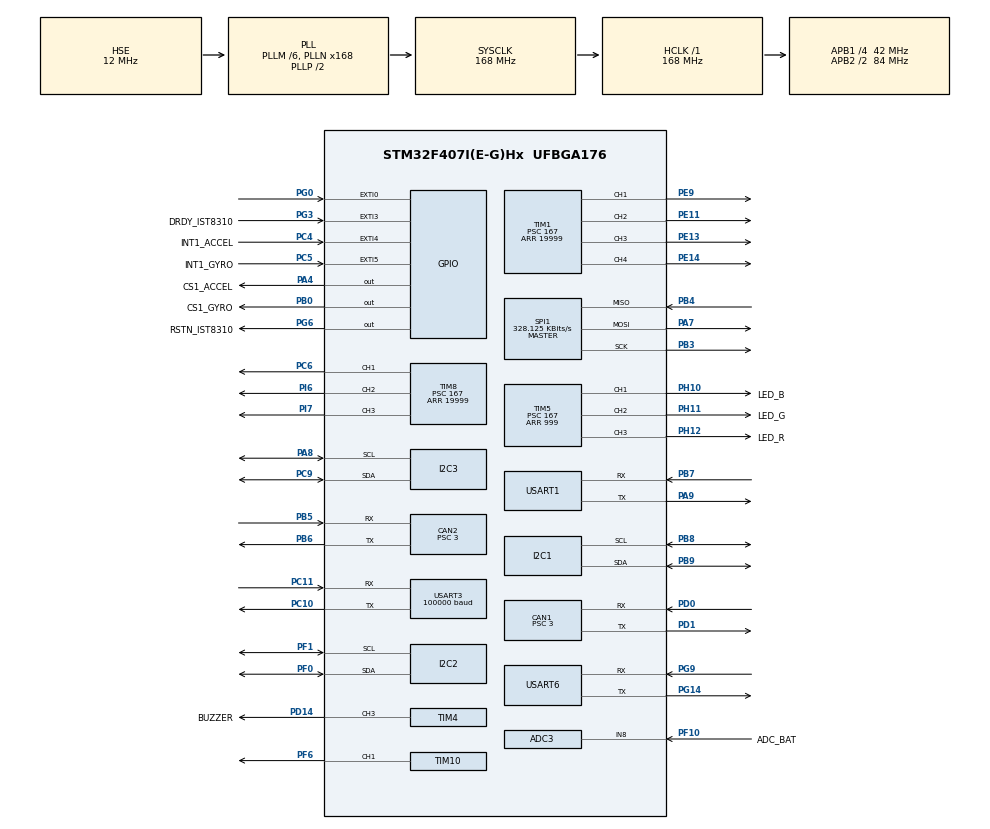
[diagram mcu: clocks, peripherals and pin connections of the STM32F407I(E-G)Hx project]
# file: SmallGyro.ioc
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ADC1.Channel-0\#ChannelRegularConversion=ADC_CHANNEL_TEMPSENSOR
ADC1.ClockPrescaler=ADC_CLOCK_SYNC_PCLK_DIV6
ADC1.NbrOfConversionFlag=1
ADC1.Rank-0\#ChannelRegularConversion=1
ADC1.SamplingTime-0\#ChannelRegularConversion=ADC_SAMPLETIME_3CYCLES
ADC1.master=1
ADC3.Channel-0\#ChannelRegularConversion=ADC_CHANNEL_8
ADC3.ClockPrescaler=ADC_CLOCK_SYNC_PCLK_DIV6
ADC3.NbrOfConversionFlag=1
ADC3.Rank-0\#ChannelRegularConversion=1
ADC3.SamplingTime-0\#ChannelRegularConversion=ADC_SAMPLETIME_3CYCLES
CAN1.BS1=CAN_BS1_10TQ
CAN1.BS2=CAN_BS2_3TQ
CAN1.CalculateTimeQuantum=71.42857142857143
CAN1.Prescaler=3
CAN2.BS1=CAN_BS1_10TQ
CAN2.BS2=CAN_BS2_3TQ
CAN2.CalculateTimeQuantum=71.42857142857143
CAN2.Prescaler=3
Dma.I2C2_TX.5.Direction=DMA_MEMORY_TO_PERIPH
Dma.I2C2_TX.5.FIFOMode=DMA_FIFOMODE_DISABLE
Dma.I2C2_TX.5.Instance=DMA1_Stream7
Dma.I2C2_TX.5.MemDataAlignment=DMA_MDATAALIGN_BYTE
Dma.I2C2_TX.5.MemInc=DMA_MINC_ENABLE
Dma.I2C2_TX.5.Mode=DMA_NORMAL
Dma.I2C2_TX.5.PeriphDataAlignment=DMA_PDATAALIGN_BYTE
Dma.I2C2_TX.5.PeriphInc=DMA_PINC_DISABLE
Dma.I2C2_TX.5.Priority=DMA_PRIORITY_HIGH
Dma.Request0=USART3_RX
Dma.Request1=SPI1_TX
Dma.Request2=USART1_TX
Dma.Request3=USART6_RX
Dma.Request4=USART6_TX
Dma.Request5=I2C2_TX
Dma.Request6=SPI1_RX
Dma.SPI1_RX.6.Direction=DMA_PERIPH_TO_MEMORY
Dma.SPI1_RX.6.FIFOMode=DMA_FIFOMODE_DISABLE
Dma.SPI1_RX.6.Instance=DMA2_Stream2
Dma.SPI1_RX.6.MemDataAlignment=DMA_MDATAALIGN_BYTE
Dma.SPI1_RX.6.MemInc=DMA_MINC_ENABLE
Dma.SPI1_RX.6.Mode=DMA_NORMAL
Dma.SPI1_RX.6.PeriphDataAlignment=DMA_PDATAALIGN_BYTE
Dma.SPI1_RX.6.PeriphInc=DMA_PINC_DISABLE
Dma.SPI1_RX.6.Priority=DMA_PRIORITY_VERY_HIGH
Dma.SPI1_TX.1.Direction=DMA_MEMORY_TO_PERIPH
Dma.SPI1_TX.1.FIFOMode=DMA_FIFOMODE_DISABLE
Dma.SPI1_TX.1.Instance=DMA2_Stream3
Dma.SPI1_TX.1.MemDataAlignment=DMA_MDATAALIGN_BYTE
Dma.SPI1_TX.1.MemInc=DMA_MINC_ENABLE
Dma.SPI1_TX.1.Mode=DMA_NORMAL
Dma.SPI1_TX.1.PeriphDataAlignment=DMA_PDATAALIGN_BYTE
Dma.SPI1_TX.1.PeriphInc=DMA_PINC_DISABLE
Dma.SPI1_TX.1.Priority=DMA_PRIORITY_HIGH
Dma.USART1_TX.2.Direction=DMA_MEMORY_TO_PERIPH
Dma.USART1_TX.2.FIFOMode=DMA_FIFOMODE_DISABLE
Dma.USART1_TX.2.Instance=DMA2_Stream7
Dma.USART1_TX.2.MemDataAlignment=DMA_MDATAALIGN_BYTE
Dma.USART1_TX.2.MemInc=DMA_MINC_ENABLE
Dma.USART1_TX.2.Mode=DMA_NORMAL
Dma.USART1_TX.2.PeriphDataAlignment=DMA_PDATAALIGN_BYTE
Dma.USART1_TX.2.PeriphInc=DMA_PINC_DISABLE
Dma.USART1_TX.2.Priority=DMA_PRIORITY_MEDIUM
Dma.USART3_RX.0.Direction=DMA_PERIPH_TO_MEMORY
Dma.USART3_RX.0.FIFOMode=DMA_FIFOMODE_DISABLE
Dma.USART3_RX.0.Instance=DMA1_Stream1
Dma.USART3_RX.0.MemDataAlignment=DMA_MDATAALIGN_BYTE
Dma.USART3_RX.0.MemInc=DMA_MINC_ENABLE
Dma.USART3_RX.0.Mode=DMA_NORMAL
Dma.USART3_RX.0.PeriphDataAlignment=DMA_PDATAALIGN_BYTE
Dma.USART3_RX.0.PeriphInc=DMA_PINC_DISABLE
Dma.USART3_RX.0.Priority=DMA_PRIORITY_HIGH
Dma.USART6_RX.3.Direction=DMA_PERIPH_TO_MEMORY
Dma.USART6_RX.3.FIFOMode=DMA_FIFOMODE_DISABLE
Dma.USART6_RX.3.Instance=DMA2_Stream1
Dma.USART6_RX.3.MemDataAlignment=DMA_MDATAALIGN_BYTE
Dma.USART6_RX.3.MemInc=DMA_MINC_ENABLE
Dma.USART6_RX.3.Mode=DMA_NORMAL
Dma.USART6_RX.3.PeriphDataAlignment=DMA_PDATAALIGN_BYTE
Dma.USART6_RX.3.PeriphInc=DMA_PINC_DISABLE
Dma.USART6_RX.3.Priority=DMA_PRIORITY_HIGH
Dma.USART6_TX.4.Direction=DMA_MEMORY_TO_PERIPH
Dma.USART6_TX.4.FIFOMode=DMA_FIFOMODE_DISABLE
Dma.USART6_TX.4.Instance=DMA2_Stream6
Dma.USART6_TX.4.MemDataAlignment=DMA_MDATAALIGN_BYTE
Dma.USART6_TX.4.MemInc=DMA_MINC_ENABLE
Dma.USART6_TX.4.Mode=DMA_NORMAL
Dma.USART6_TX.4.PeriphDataAlignment=DMA_PDATAALIGN_BYTE
Dma.USART6_TX.4.PeriphInc=DMA_PINC_DISABLE
Dma.USART6_TX.4.Priority=DMA_PRIORITY_MEDIUM
FREERTOS.INCLUDE_eTaskGetState=1
FREERTOS.INCLUDE_pcTaskGetTaskName=1
FREERTOS.INCLUDE_uxTaskGetStackHighWaterMark=1
FREERTOS.INCLUDE_vTaskCleanUpResources=1
FREERTOS.INCLUDE_vTaskDelayUntil=1
FREERTOS.INCLUDE_xQueueGetMutexHolder=1
FREERTOS.INCLUDE_xSemaphoreGetMutexHolder=1
FREERTOS.INCLUDE_xTaskAbortDelay=1
FREERTOS.INCLUDE_xTaskGetCurrentTaskHandle=1
FREERTOS.INCLUDE_xTaskGetHandle=1
FREERTOS.Tasks01=defaultTask,0,128,StartDefaultTask,Default,NULL,Dynamic,NULL,NULL
FREERTOS.configTOTAL_HEAP_SIZE=24576
I2C1.I2C_Mode=I2C_Fast
I2C2.I2C_Mode=I2C_Fast
I2C3.I2C_Mode=I2C_Fast
Mcu.Family=STM32F4
Mcu.Name=STM32F407I(E-G)Hx
Mcu.Package=UFBGA176
NVIC.CAN1_RX0_IRQn=true\:5\:0\:false\:false\:true\:true\:true\:true
NVIC.CAN2_RX0_IRQn=true\:5\:0\:false\:false\:true\:true\:true\:true
NVIC.DMA1_Stream1_IRQn=true\:5\:0\:false\:false\:false\:true\:false\:false
NVIC.DMA1_Stream7_IRQn=true\:5\:0\:false\:false\:false\:true\:false\:false
NVIC.DMA2_Stream1_IRQn=true\:5\:0\:false\:false\:true\:true\:false\:true
NVIC.DMA2_Stream2_IRQn=true\:5\:0\:true\:false\:false\:false\:false\:false
NVIC.DMA2_Stream3_IRQn=true\:5\:0\:false\:false\:false\:true\:false\:false
NVIC.DMA2_Stream6_IRQn=true\:5\:0\:false\:false\:true\:true\:false\:true
NVIC.DMA2_Stream7_IRQn=true\:5\:0\:false\:false\:true\:true\:false\:true
NVIC.EXTI0_IRQn=true\:6\:0\:true\:false\:true\:true\:true\:true
NVIC.EXTI3_IRQn=true\:5\:0\:false\:false\:true\:true\:true\:true
NVIC.EXTI4_IRQn=true\:5\:0\:true\:false\:true\:false\:true\:true
NVIC.EXTI9_5_IRQn=true\:5\:0\:true\:false\:true\:false\:true\:true
NVIC.PriorityGroup=NVIC_PRIORITYGROUP_4
NVIC.USART3_IRQn=true\:5\:0\:false\:false\:false\:true\:true\:false
NVIC.USART6_IRQn=true\:5\:0\:false\:false\:false\:true\:true\:false
PA13.Mode=Serial_Wire
PA13.Signal=SYS_JTMS-SWDIO
PA14.Mode=Serial_Wire
PA14.Signal=SYS_JTCK-SWCLK
PA4.GPIO_Label=CS1_ACCEL
PA4.GPIO_PuPd=GPIO_PULLUP
PA4.GPIO_Speed=GPIO_SPEED_FREQ_HIGH
PA4.PinState=GPIO_PIN_SET
PA4.Signal=GPIO_Output
PA7.GPIO_PuPd=GPIO_PULLUP
PA7.Mode=Full_Duplex_Master
PA7.Signal=SPI1_MOSI
PA8.Mode=I2C
PA8.Signal=I2C3_SCL
PA9.GPIO_PuPd=GPIO_PULLUP
PA9.Mode=Asynchronous
PA9.Signal=USART1_TX
PB0.GPIO_Label=CS1_GYRO
PB0.GPIO_PuPd=GPIO_PULLUP
PB0.GPIO_Speed=GPIO_SPEED_FREQ_HIGH
PB0.PinState=GPIO_PIN_SET
PB0.Signal=GPIO_Output
PB3.GPIO_PuPd=GPIO_PULLUP
PB3.Mode=Full_Duplex_Master
PB3.Signal=SPI1_SCK
PB4.GPIO_PuPd=GPIO_PULLUP
PB4.Mode=Full_Duplex_Master
PB4.Signal=SPI1_MISO
PB5.Mode=Slave
PB5.Signal=CAN2_RX
PB6.Mode=Slave
PB6.Signal=CAN2_TX
PB7.GPIO_PuPd=GPIO_PULLUP
PB7.Mode=Asynchronous
PB7.Signal=USART1_RX
PB8.Mode=I2C
PB8.Signal=I2C1_SCL
PB9.Mode=I2C
PB9.Signal=I2C1_SDA
PC10.GPIO_PuPd=GPIO_PULLUP
PC10.Mode=Asynchronous
PC10.Signal=USART3_TX
PC11.GPIO_PuPd=GPIO_PULLUP
PC11.Mode=Asynchronous
PC11.Signal=USART3_RX
PC14-OSC32_IN.Mode=LSE-External-Oscillator
PC14-OSC32_IN.Signal=RCC_OSC32_IN
PC15-OSC32_OUT.Mode=LSE-External-Oscillator
PC15-OSC32_OUT.Signal=RCC_OSC32_OUT
PC4.GPIO_Label=INT1_ACCEL
PC4.GPIO_PuPd=GPIO_PULLUP
PC4.Signal=GPXTI4
PC5.GPIO_Label=INT1_GYRO
PC5.GPIO_PuPd=GPIO_PULLUP
PC5.Signal=GPXTI5
PC6.Signal=S_TIM8_CH1
PC9.Mode=I2C
PC9.Signal=I2C3_SDA
PD0.Mode=Master
PD0.Signal=CAN1_RX
PD1.Mode=Master
PD1.Signal=CAN1_TX
PD14.GPIO_Label=BUZZER
PD14.GPIO_PuPd=GPIO_PULLUP
PD14.GPIO_Speed=GPIO_SPEED_FREQ_VERY_HIGH
PD14.Signal=S_TIM4_CH3
PE11.Signal=S_TIM1_CH2
PE13.Signal=S_TIM1_CH3
PE14.Signal=S_TIM1_CH4
PE9.Signal=S_TIM1_CH1
PF0.Mode=I2C
PF0.Signal=I2C2_SDA
PF1.Mode=I2C
PF1.Signal=I2C2_SCL
PF10.GPIO_Label=ADC_BAT
PF10.Mode=IN8
PF10.Signal=ADC3_IN8
PF6.GPIO_PuPd=GPIO_PULLUP
PF6.GPIO_Speed=GPIO_SPEED_FREQ_HIGH
PF6.Signal=S_TIM10_CH1
PG0.GPIO_PuPd=GPIO_PULLUP
PG0.Signal=GPXTI0
PG14.GPIO_PuPd=GPIO_PULLUP
PG14.Mode=Asynchronous
PG14.Signal=USART6_TX
PG3.GPIO_Label=DRDY_IST8310
PG3.GPIO_ModeDefaultEXTI=GPIO_MODE_IT_FALLING
PG3.GPIO_PuPd=GPIO_PULLUP
PG3.Signal=GPXTI3
PG6.GPIO_Label=RSTN_IST8310
PG6.GPIO_PuPd=GPIO_PULLUP
PG6.GPIO_Speed=GPIO_SPEED_FREQ_MEDIUM
PG6.PinState=GPIO_PIN_SET
PG6.Signal=GPIO_Output
PG9.GPIO_PuPd=GPIO_PULLUP
PG9.Mode=Asynchronous
PG9.Signal=USART6_RX
PH0-OSC_IN.Mode=HSE-External-Oscillator
PH0-OSC_IN.Signal=RCC_OSC_IN
PH1-OSC_OUT.Mode=HSE-External-Oscillator
PH1-OSC_OUT.Signal=RCC_OSC_OUT
PH10.GPIO_Label=LED_B
PH10.GPIO_PuPd=GPIO_PULLUP
PH10.GPIO_Speed=GPIO_SPEED_FREQ_HIGH
PH10.Signal=S_TIM5_CH1
PH11.GPIO_Label=LED_G
PH11.GPIO_PuPd=GPIO_PULLUP
PH11.GPIO_Speed=GPIO_SPEED_FREQ_HIGH
PH11.Signal=S_TIM5_CH2
PH12.GPIO_Label=LED_R
PH12.GPIO_PuPd=GPIO_PULLUP
PH12.GPIO_Speed=GPIO_SPEED_FREQ_HIGH
PH12.Signal=S_TIM5_CH3
PI6.Signal=S_TIM8_CH2
PI7.Signal=S_TIM8_CH3
ProjectManager.HeapSize=0x200
ProjectManager.StackSize=0x400
ProjectManager.TargetToolchain=MDK-ARM V5
RCC.48MHZClocksFreq_Value=84000000
RCC.AHBFreq_Value=168000000
RCC.APB1CLKDivider=RCC_HCLK_DIV4
RCC.APB1Freq_Value=42000000
RCC.APB1TimFreq_Value=84000000
RCC.APB2CLKDivider=RCC_HCLK_DIV2
RCC.APB2Freq_Value=84000000
RCC.APB2TimFreq_Value=168000000
RCC.CortexFreq_Value=168000000
RCC.HCLKFreq_Value=168000000
RCC.HSE_VALUE=12000000
RCC.HSI_VALUE=16000000
RCC.PLLM=6
RCC.PLLN=168
RCC.PLLSourceVirtual=RCC_PLLSOURCE_HSE
RCC.SYSCLKFreq_VALUE=168000000
RCC.SYSCLKSource=RCC_SYSCLKSOURCE_PLLCLK
RCC.VCOOutputFreq_Value=336000000
SH.S_TIM10_CH1.0=TIM10_CH1,PWM Generation1 CH1
SH.S_TIM1_CH1.0=TIM1_CH1,PWM Generation1 CH1
SH.S_TIM1_CH2.0=TIM1_CH2,PWM Generation2 CH2
SH.S_TIM1_CH3.0=TIM1_CH3,PWM Generation3 CH3
SH.S_TIM1_CH4.0=TIM1_CH4,PWM Generation4 CH4
SH.S_TIM4_CH3.0=TIM4_CH3,PWM Generation3 CH3
SH.S_TIM5_CH1.0=TIM5_CH1,PWM Generation1 CH1
SH.S_TIM5_CH2.0=TIM5_CH2,PWM Generation2 CH2
SH.S_TIM5_CH3.0=TIM5_CH3,PWM Generation3 CH3
SH.S_TIM8_CH1.0=TIM8_CH1,PWM Generation1 CH1
SH.S_TIM8_CH2.0=TIM8_CH2,PWM Generation2 CH2
SH.S_TIM8_CH3.0=TIM8_CH3,PWM Generation3 CH3
SPI1.BaudRatePrescaler=SPI_BAUDRATEPRESCALER_256
SPI1.CLKPhase=SPI_PHASE_2EDGE
SPI1.CLKPolarity=SPI_POLARITY_HIGH
SPI1.CalculateBaudRate=328.125 KBits/s
SPI1.Direction=SPI_DIRECTION_2LINES
SPI1.Mode=SPI_MODE_MASTER
SPI1.VirtualType=VM_MASTER
TIM1.Channel-PWM\ Generation1\ CH1=TIM_CHANNEL_1
TIM1.Channel-PWM\ Generation2\ CH2=TIM_CHANNEL_2
TIM1.Channel-PWM\ Generation3\ CH3=TIM_CHANNEL_3
TIM1.Channel-PWM\ Generation4\ CH4=TIM_CHANNEL_4
TIM1.Period=19999
TIM1.Prescaler=167
TIM1.Pulse-PWM\ Generation1\ CH1=2000
TIM1.Pulse-PWM\ Generation2\ CH2=2000
TIM1.Pulse-PWM\ Generation3\ CH3=2000
TIM1.Pulse-PWM\ Generation4\ CH4=2000
TIM10.Channel=TIM_CHANNEL_1
TIM10.Period=999
TIM10.Prescaler=167
TIM10.Pulse=500
TIM4.Channel-PWM\ Generation3\ CH3=TIM_CHANNEL_3
TIM4.Period=65535
TIM4.Prescaler=167
TIM5.Channel-PWM\ Generation1\ CH1=TIM_CHANNEL_1
TIM5.Channel-PWM\ Generation2\ CH2=TIM_CHANNEL_2
TIM5.Channel-PWM\ Generation3\ CH3=TIM_CHANNEL_3
TIM5.Period=999
TIM5.Prescaler=167
TIM5.Pulse-PWM\ Generation2\ CH2=500
TIM5.Pulse-PWM\ Generation3\ CH3=500
TIM8.Channel-PWM\ Generation1\ CH1=TIM_CHANNEL_1
TIM8.Channel-PWM\ Generation2\ CH2=TIM_CHANNEL_2
TIM8.Channel-PWM\ Generation3\ CH3=TIM_CHANNEL_3
TIM8.Period=19999
TIM8.Prescaler=167
TIM8.Pulse-PWM\ Generation1\ CH1=2000
TIM8.Pulse-PWM\ Generation2\ CH2=2000
TIM8.Pulse-PWM\ Generation3\ CH3=2000
USART1.VirtualMode=VM_ASYNC
USART3.BaudRate=100000
USART3.VirtualMode=VM_ASYNC
USART6.VirtualMode=VM_ASYNC
VP_ADC1_TempSens_Input.Mode=IN-TempSens
VP_ADC1_Vref_Input.Mode=IN-Vrefint
VP_CRC_VS_CRC.Mode=CRC_Activate
VP_FREERTOS_VS_CMSIS_V1.Mode=CMSIS_V1
VP_TIM10_VS_ClockSourceINT.Mode=Enable_Timer
VP_TIM1_VS_ClockSourceINT.Mode=Internal
VP_TIM4_VS_ClockSourceINT.Mode=Internal
VP_TIM5_VS_ClockSourceINT.Mode=Internal
VP_TIM8_VS_ClockSourceINT.Mode=Internal
board=custom

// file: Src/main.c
/* USER CODE BEGIN Header */
/**
  ******************************************************************************
  * @file           : main.c
  * @brief          : Main program body
  ******************************************************************************
  * @attention
  *
  * <h2><center>&copy; Copyright (c) 2020 STMicroelectronics.
  * All rights reserved.</center></h2>
  *
  * This software component is licensed by ST under Ultimate Liberty license
  * SLA0044, the "License"; You may not use this file except in compliance with
  * the License. You may obtain a copy of the License at:
  *                             www.st.com/SLA0044
  *
  ******************************************************************************
  */
/* USER CODE END Header */

#include "main.h"
#include "cmsis_os.h"
#include "adc.h"
#include "can.h"
#include "crc.h"
#include "dma.h"
#include "i2c.h"
#include "spi.h"
#include "tim.h"
#include "usart.h"
#include "gpio.h"

/* USER CODE BEGIN Includes */
#include "can_user.h"
#include "bsp_delay.h"
#include "remote_control.h"
#include "EventRecorder.h"

/* USER CODE END Includes */

void SystemClock_Config(void);
void MX_FREERTOS_Init(void);

int main(void)
{

  /* MCU Configuration--------------------------------------------------------*/

  /* Reset of all peripherals, Initializes the Flash interface and the Systick. */
  HAL_Init();

  /* Configure the system clock */
  SystemClock_Config();

  /* Initialize all configured peripherals */
  MX_GPIO_Init();
  MX_DMA_Init();
  MX_CAN1_Init();
  MX_CAN2_Init();
  MX_USART3_UART_Init();
  MX_ADC1_Init();
  MX_ADC3_Init();
  MX_CRC_Init();
  MX_I2C3_Init();
  MX_SPI1_Init();
  MX_TIM1_Init();
  MX_TIM4_Init();
  MX_TIM5_Init();
  MX_TIM8_Init();
  MX_TIM10_Init();
  MX_USART1_UART_Init();
  MX_USART6_UART_Init();
  MX_I2C2_Init();
  MX_I2C1_Init();
  /* USER CODE BEGIN 2 */

	EventRecorderInitialize(EventRecordAll,1U);
	EventRecorderStart();
	delay_init();
  vApp_User_CAN_Configuration();
	remote_control_init();
  /* USER CODE END 2 */

  /* Call init function for freertos objects (in freertos.c) */
  MX_FREERTOS_Init();

  /* Start scheduler */
  osKernelStart();

  /* We should never get here as control is now taken by the scheduler */

  /* Infinite loop */
  while (1)
  {

  }
}

void SystemClock_Config(void)
{
  RCC_OscInitTypeDef RCC_OscInitStruct = {0};
  RCC_ClkInitTypeDef RCC_ClkInitStruct = {0};

  /** Configure the main internal regulator output voltage
  */
  __HAL_RCC_PWR_CLK_ENABLE();
  __HAL_PWR_VOLTAGESCALING_CONFIG(PWR_REGULATOR_VOLTAGE_SCALE1);
  /** Initializes the CPU, AHB and APB busses clocks
  */
  RCC_OscInitStruct.OscillatorType = RCC_OSCILLATORTYPE_HSE;
  RCC_OscInitStruct.HSEState = RCC_HSE_ON;
  RCC_OscInitStruct.PLL.PLLState = RCC_PLL_ON;
  RCC_OscInitStruct.PLL.PLLSource = RCC_PLLSOURCE_HSE;
  RCC_OscInitStruct.PLL.PLLM = 6;
  RCC_OscInitStruct.PLL.PLLN = 168;
  RCC_OscInitStruct.PLL.PLLP = RCC_PLLP_DIV2;
  RCC_OscInitStruct.PLL.PLLQ = 4;
  if (HAL_RCC_OscConfig(&RCC_OscInitStruct) != HAL_OK)
  {
    Error_Handler();
  }
  /** Initializes the CPU, AHB and APB busses clocks
  */
  RCC_ClkInitStruct.ClockType = RCC_CLOCKTYPE_HCLK|RCC_CLOCKTYPE_SYSCLK
                              |RCC_CLOCKTYPE_PCLK1|RCC_CLOCKTYPE_PCLK2;
  RCC_ClkInitStruct.SYSCLKSource = RCC_SYSCLKSOURCE_PLLCLK;
  RCC_ClkInitStruct.AHBCLKDivider = RCC_SYSCLK_DIV1;
  RCC_ClkInitStruct.APB1CLKDivider = RCC_HCLK_DIV4;
  RCC_ClkInitStruct.APB2CLKDivider = RCC_HCLK_DIV2;

  if (HAL_RCC_ClockConfig(&RCC_ClkInitStruct, FLASH_LATENCY_5) != HAL_OK)
  {
    Error_Handler();
  }
}

void Error_Handler(void)
{
}

/************************ (C) COPYRIGHT STMicroelectronics *****END OF FILE****/

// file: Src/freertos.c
/* USER CODE BEGIN Header */
/**
  ******************************************************************************
  * File Name          : freertos.c
  * Description        : Code for freertos applications
  ******************************************************************************
  * @attention
  *
  * <h2><center>&copy; Copyright (c) 2020 STMicroelectronics.
  * All rights reserved.</center></h2>
  *
  * This software component is licensed by ST under Ultimate Liberty license
  * SLA0044, the "License"; You may not use this file except in compliance with
  * the License. You may obtain a copy of the License at:
  *                             www.st.com/SLA0044
  *
  ******************************************************************************
  */
/* USER CODE END Header */

#include "FreeRTOS.h"
#include "task.h"
#include "main.h"
#include "cmsis_os.h"

/* USER CODE BEGIN Includes */
#include "can_user.h"
#include "chassis_task.h"
#include "INS_task.h"
#include "gimbal_task.h"
/* USER CODE END Includes */

osThreadId defaultTaskHandle;
osThreadId imuTaskHandle;
osThreadId chassisTaskHandle;
osThreadId gimbalTaskHandle;

void StartDefaultTask(void const * argument);

void MX_FREERTOS_Init(void); /* (MISRA C 2004 rule 8.1) */

/* GetIdleTaskMemory prototype (linked to static allocation support) */
void vApplicationGetIdleTaskMemory( StaticTask_t **ppxIdleTaskTCBBuffer, StackType_t **ppxIdleTaskStackBuffer, uint32_t *pulIdleTaskStackSize );

/* USER CODE BEGIN GET_IDLE_TASK_MEMORY */
static StaticTask_t xIdleTaskTCBBuffer;
static StackType_t xIdleStack[configMINIMAL_STACK_SIZE];

void vApplicationGetIdleTaskMemory( StaticTask_t **ppxIdleTaskTCBBuffer, StackType_t **ppxIdleTaskStackBuffer, uint32_t *pulIdleTaskStackSize )
{
  *ppxIdleTaskTCBBuffer = &xIdleTaskTCBBuffer;
  *ppxIdleTaskStackBuffer = &xIdleStack[0];
  *pulIdleTaskStackSize = configMINIMAL_STACK_SIZE;
  /* place for user code */
}
/* USER CODE END GET_IDLE_TASK_MEMORY */

void MX_FREERTOS_Init(void) {

  /* Create the thread(s) */
  /* definition and creation of defaultTask */
  osThreadDef(defaultTask, StartDefaultTask, osPriorityNormal, 0, 128);
  defaultTaskHandle = osThreadCreate(osThread(defaultTask), NULL);

  /* USER CODE BEGIN RTOS_THREADS */
  /* add threads, ... */
//	osThreadDef(chassisTask, chassis_task, osPriorityNormal, 0, 512);
//  chassisTaskHandle = osThreadCreate(osThread(chassisTask), NULL);
//
	osThreadDef(imuTask, INS_task, osPriorityRealtime, 0, 1024);
  imuTaskHandle = osThreadCreate(osThread(imuTask), NULL);

	osThreadDef(gimbalTask, gimbal_task, osPriorityRealtime, 0, 1024);
  gimbalTaskHandle = osThreadCreate(osThread(gimbalTask), NULL);

  /* USER CODE END RTOS_THREADS */

}

void StartDefaultTask(void const * argument)
{
  for(;;)
  {
    osDelay(1);
  }
}

/************************ (C) COPYRIGHT STMicroelectronics *****END OF FILE****/
